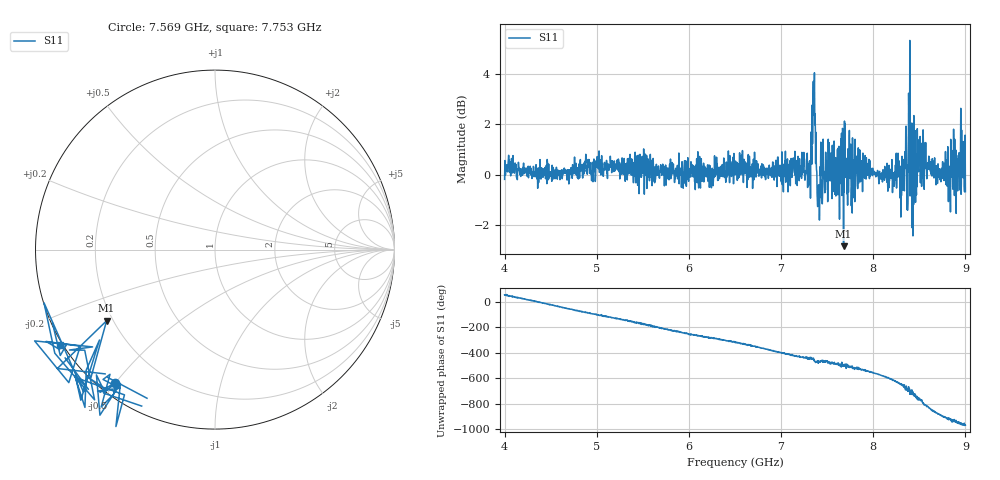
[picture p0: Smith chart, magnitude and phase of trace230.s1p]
! Created with skrf 1.8.0 (http://scikit-rf.org).
# Hz S RI R 50.0
!freq ReS11 ImS11
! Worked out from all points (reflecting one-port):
!   1601 points, 4 GHz to 9 GHz, reference 50 ohm
!   lowest |S11| = -2.8 dB at 7.678 GHz (marker M1), VSWR 6.20, Z = 8.76 - j14.5 ohm
!   phase of S11 starts at 53 deg and turns -1019 deg over the sweep
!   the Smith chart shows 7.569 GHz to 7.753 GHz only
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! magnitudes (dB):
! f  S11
! 4 GHz  -0.2
! 4.625 GHz  -0.2
! 5.25 GHz  -0.2
! 5.875 GHz  0.4
! 6.5 GHz  0.0
! 7.125 GHz  0.1
! 7.294 GHz  0.2
! 7.319 GHz  -0.9
! 7.347 GHz  3.1
! 7.362 GHz  4.1
! 7.397 GHz  -1.3
! 7.412 GHz  -0.4
! 7.519 GHz  -0.2
! 7.609 GHz  -0.3
! 7.678 GHz  -2.8
! 7.75 GHz  -0.1
! 7.775 GHz  1.5
! 7.862 GHz  -0.3
! 8.312 GHz  0.7
! 8.338 GHz  -0.6
! 8.356 GHz  1.9
! 8.375 GHz  -1.1
! 8.447 GHz  1.2
! 8.459 GHz  -1.1
! 8.522 GHz  1.0
! 8.722 GHz  -0.2
! 8.972 GHz  0.9
! 9 GHz  -0.7
